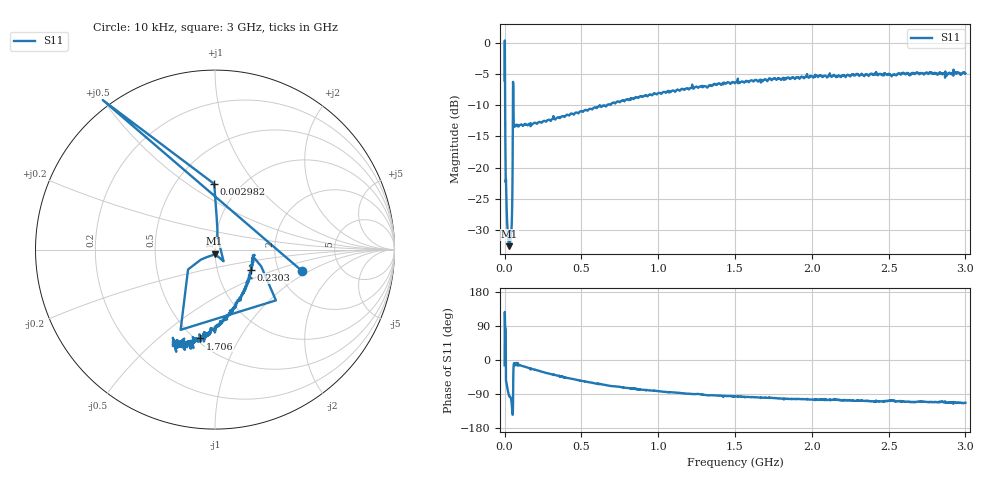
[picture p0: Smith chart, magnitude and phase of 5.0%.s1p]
# HZ S RI R 50
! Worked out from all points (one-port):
!   2020 points, 10 kHz to 3 GHz, reference 50 ohm
!   lowest |S11| = -32.5 dB at 29.73 MHz (marker M1), VSWR 1.05, Z = 49.7 - j2.34 ohm
!   |S11| at or under -10 dB: 3.285 MHz to 54.32 MHz (51.04 MHz wide, 177 % of centre); 57.51 MHz to 619.4 MHz (561.9 MHz wide, 166 % of centre); 619.8 MHz to 667.1 MHz (47.34 MHz wide, 7.36 % of centre)
!   S11 on the Smith chart (normalised r, x): 10 kHz: 2.68, -0.85; 2.982 MHz: 0.76, +0.64; 230.3 MHz: 1.46, -0.35; 1.706 GHz: 0.53, -0.70; 3 GHz: 0.38, -0.59
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10000  0.4842 -0.1187
2981758  -0.00419 0.366
1.635467e7  0.0129 -0.0348
1.784055e7  0.00969 -0.0329
1.932643e7  0.0071 -0.031
2.526994e7  0.000633 -0.0259
2.972758e7  -0.00224 -0.0235
3.418522e7  -0.00268 -0.0247
3.715698e7  -0.00346 -0.0259
4.012873e7  -0.00506 -0.0273
4.310049e7  -0.00808 -0.0291
5.795928e7  0.2575 -0.0935
6.39028e7  0.2116 -0.0353
6.836043e7  0.2074 -0.0515
7.133219e7  0.2158 -0.0346
7.578983e7  0.2187 -0.0301
2.303212e8  0.2023 -0.1134
3.759374e8  0.1856 -0.18
7.503789e8  0.1089 -0.3157
1.126306e9  0.0255 -0.4202
1.500748e9  -0.0471 -0.4732
1.705799e9  -0.0836 -0.4947
1.875189e9  -0.1191 -0.5142
2.251117e9  -0.1526 -0.5153
2.40119e9  -0.1809 -0.5225
2.517089e9  -0.1589 -0.5224
2.625558e9  -0.1942 -0.5352
3e9  -0.2224 -0.5229
